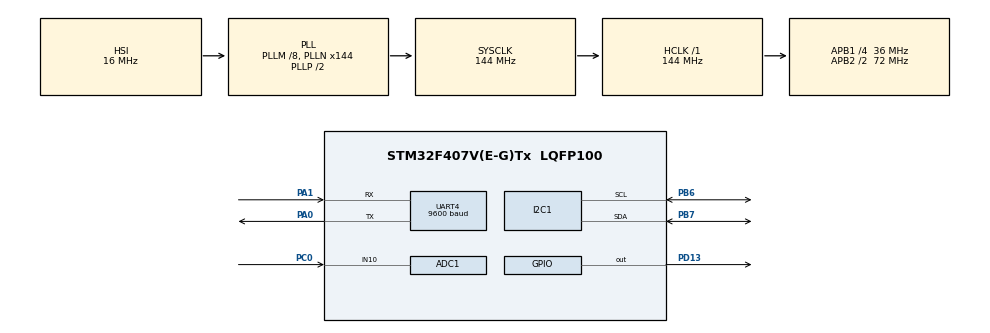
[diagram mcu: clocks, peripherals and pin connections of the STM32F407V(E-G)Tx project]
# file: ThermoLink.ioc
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ADC1.Channel-0\#ChannelRegularConversion=ADC_CHANNEL_10
ADC1.NbrOfConversionFlag=1
ADC1.Rank-0\#ChannelRegularConversion=1
ADC1.SamplingTime-0\#ChannelRegularConversion=ADC_SAMPLETIME_3CYCLES
ADC1.master=1
Mcu.Family=STM32F4
Mcu.Name=STM32F407V(E-G)Tx
Mcu.Package=LQFP100
NVIC.PriorityGroup=NVIC_PRIORITYGROUP_4
NVIC.UART4_IRQn=true\:0\:0\:false\:false\:true\:true\:true\:true
PA0-WKUP.Mode=Asynchronous
PA0-WKUP.Signal=UART4_TX
PA1.Mode=Asynchronous
PA1.Signal=UART4_RX
PA13.Mode=Serial_Wire
PA13.Signal=SYS_JTMS-SWDIO
PA14.Mode=Serial_Wire
PA14.Signal=SYS_JTCK-SWCLK
PB6.Mode=I2C
PB6.Signal=I2C1_SCL
PB7.Mode=I2C
PB7.Signal=I2C1_SDA
PC0.Signal=ADCx_IN10
PD13.Signal=GPIO_Output
ProjectManager.HeapSize=0x200
ProjectManager.StackSize=0x400
ProjectManager.TargetToolchain=STM32CubeIDE
RCC.48MHZClocksFreq_Value=72000000
RCC.AHBFreq_Value=144000000
RCC.APB1CLKDivider=RCC_HCLK_DIV4
RCC.APB1Freq_Value=36000000
RCC.APB1TimFreq_Value=72000000
RCC.APB2CLKDivider=RCC_HCLK_DIV2
RCC.APB2Freq_Value=72000000
RCC.APB2TimFreq_Value=144000000
RCC.CortexFreq_Value=144000000
RCC.HCLKFreq_Value=144000000
RCC.HSE_VALUE=25000000
RCC.HSI_VALUE=16000000
RCC.LSE_VALUE=32768
RCC.PLLM=8
RCC.PLLN=144
RCC.SYSCLKFreq_VALUE=144000000
RCC.SYSCLKSource=RCC_SYSCLKSOURCE_PLLCLK
RCC.VCOOutputFreq_Value=288000000
SH.ADCx_IN10.0=ADC1_IN10,IN10
UART4.BaudRate=9600
UART4.VirtualMode=Asynchronous
board=custom

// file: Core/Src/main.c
/* USER CODE BEGIN Header */
/**
  ******************************************************************************
  * @file           : main.c
  * @brief          : Main program body
  ******************************************************************************
  * @attention
  *
  * Copyright (c) 2025 STMicroelectronics.
  * All rights reserved.
  *
  * This software is licensed under terms that can be found in the LICENSE file
  * in the root directory of this software component.
  * If no LICENSE file comes with this software, it is provided AS-IS.
  *
  ******************************************************************************
  */
/* USER CODE END Header */
#include "main.h"
#include "adc.h"
#include "i2c.h"
#include "usart.h"
#include "gpio.h"

/* USER CODE BEGIN Includes */
#include <string.h>
#include <stdio.h>
/* USER CODE END Includes */

/* USER CODE BEGIN PD */
#define LED_PIN GPIO_PIN_13
#define LED_PORT GPIOD

#define MLX_ADDR 0x5A << 1  // I2C адреса MLX90614
#define TEMP_MEASURE_INTERVAL 1000  // 1 секунда

/* USER CODE END PD */

/* USER CODE BEGIN PV */
/// UART_HandleTypeDef huart4;  - оголошено в usart.h

// Bluetooth reception buffers
char bt_rx_buffer[1];           // Single character receive buffer
char bt_input_buffer[128];      // Complete message buffer
uint16_t bt_input_index = 0;    // Current position in input buffer
uint8_t bt_message_ready = 0;   // Flag indicating complete message received

// Pirometr
uint32_t last_temp_measurement = 0;

// Thermopair
uint16_t adc_value = 0;
/* USER CODE END PV */

void SystemClock_Config(void);
/* USER CODE BEGIN PFP */
void BT_Init(void);                           // Initialize Bluetooth communication
void BT_MessageHandler(char *message);        // Handle specific Bluetooth commands
void BT_SendMessage(char *message);           // Send message via Bluetooth

uint16_t MLX_Read_Register(uint8_t reg);
float MLX_ReadTempAmbient(void);
float MLX_ReadTempObject(void);

uint16_t read_adc(void);
/* USER CODE END PFP */

int main(void)
{

  /* MCU Configuration--------------------------------------------------------*/

  /* Reset of all peripherals, Initializes the Flash interface and the Systick. */
  HAL_Init();

  /* Configure the system clock */
  SystemClock_Config();

  /* Initialize all configured peripherals */
  MX_GPIO_Init();
  MX_UART4_Init();
  MX_I2C1_Init();
  MX_ADC1_Init();
  /* USER CODE BEGIN 2 */
  HAL_ADC_Start(&hadc1);
  BT_Init();
  /* USER CODE END 2 */

  /* Infinite loop */
  /* USER CODE BEGIN WHILE */
  BT_SendMessage("ready");

  while (1)
  {

	    if (bt_message_ready!=0) {
	    	BT_MessageHandler(bt_input_buffer);

	    	HAL_Delay(200);

	    }
    /* USER CODE END WHILE */

  }
}

void SystemClock_Config(void)
{
  RCC_OscInitTypeDef RCC_OscInitStruct = {0};
  RCC_ClkInitTypeDef RCC_ClkInitStruct = {0};

  /** Configure the main internal regulator output voltage
  */
  __HAL_RCC_PWR_CLK_ENABLE();
  __HAL_PWR_VOLTAGESCALING_CONFIG(PWR_REGULATOR_VOLTAGE_SCALE1);

  /** Initializes the RCC Oscillators according to the specified parameters
  * in the RCC_OscInitTypeDef structure.
  */
  RCC_OscInitStruct.OscillatorType = RCC_OSCILLATORTYPE_HSI;
  RCC_OscInitStruct.HSIState = RCC_HSI_ON;
  RCC_OscInitStruct.HSICalibrationValue = RCC_HSICALIBRATION_DEFAULT;
  RCC_OscInitStruct.PLL.PLLState = RCC_PLL_ON;
  RCC_OscInitStruct.PLL.PLLSource = RCC_PLLSOURCE_HSI;
  RCC_OscInitStruct.PLL.PLLM = 8;
  RCC_OscInitStruct.PLL.PLLN = 144;
  RCC_OscInitStruct.PLL.PLLP = RCC_PLLP_DIV2;
  RCC_OscInitStruct.PLL.PLLQ = 4;
  if (HAL_RCC_OscConfig(&RCC_OscInitStruct) != HAL_OK)
  {
    Error_Handler();
  }

  /** Initializes the CPU, AHB and APB buses clocks
  */
  RCC_ClkInitStruct.ClockType = RCC_CLOCKTYPE_HCLK|RCC_CLOCKTYPE_SYSCLK
                              |RCC_CLOCKTYPE_PCLK1|RCC_CLOCKTYPE_PCLK2;
  RCC_ClkInitStruct.SYSCLKSource = RCC_SYSCLKSOURCE_PLLCLK;
  RCC_ClkInitStruct.AHBCLKDivider = RCC_SYSCLK_DIV1;
  RCC_ClkInitStruct.APB1CLKDivider = RCC_HCLK_DIV4;
  RCC_ClkInitStruct.APB2CLKDivider = RCC_HCLK_DIV2;

  if (HAL_RCC_ClockConfig(&RCC_ClkInitStruct, FLASH_LATENCY_4) != HAL_OK)
  {
    Error_Handler();
  }
}

/* USER CODE BEGIN 4 */
void BT_MessageHandler(char *message)
{
  // SWITCH_LED command - toggle the LED state
  if (strcmp(message, "SWITCH_LED") == 0) {
    // Toggle LED pin (like digitalWrite in Arduino)
    HAL_GPIO_TogglePin(LED_PORT, LED_PIN);

    // Send response back via Bluetooth with current LED state
    if (HAL_GPIO_ReadPin(LED_PORT, LED_PIN)) {
      BT_SendMessage("LED ON");
    } else {
      BT_SendMessage("LED OFF");
    }
  }
  else if (strcmp(message, "PIROMETR") == 0) {
	  float ambient = MLX_ReadTempAmbient();
	  float object = MLX_ReadTempObject();

	  // Конвертація у цілі числа (наприклад, помножені на 10 для 1 десяткового знака)
	  int ambient_int = (int)(ambient * 10);
	  int object_int = (int)(object * 10);

	  char temp_msg[64];
	  sprintf(temp_msg, "pirometr%d.%d|%d.%d",
			  ambient_int / 10, abs(ambient_int % 10),
			  object_int / 10, abs(object_int % 10));

  	  BT_SendMessage(temp_msg);
  }
  else if (strcmp(message,"THERMOPAIR") == 0){
	  char temp_msg[64];

	  uint16_t value = read_adc();
	  sprintf(temp_msg, "thermopair%d",value);
  	  BT_SendMessage(temp_msg);
  }
  // Unknown command handler
  else {
    char response[50];
    sprintf(response, "Unknown command: %s", message);
    BT_SendMessage(response);
  }

  bt_message_ready = 0;           // Clear the message ready flag
  bt_input_index = 0;             // Reset buffer position
  memset(bt_input_buffer, 0, sizeof(bt_input_buffer));  // Clear buffer contents

}

// My system code
void BT_Init(void)
{
  // Start receiving data via UART interrupt
  // When data arrives, HAL_UART_RxCpltCallback will be called automatically
  HAL_UART_Receive_IT(&huart4, (uint8_t*)bt_rx_buffer, 1);

  // Clear the input buffer to ensure it's empty
  memset(bt_input_buffer, 0, sizeof(bt_input_buffer));

  // Reset buffer position and message flag
  bt_input_index = 0;
  bt_message_ready = 0;
}
// Переривання по Юарт
void HAL_UART_RxCpltCallback(UART_HandleTypeDef *huart)
{
  // Check if this interrupt came from our Bluetooth UART
  if (huart->Instance == huart4.Instance) {
    char received_char = bt_rx_buffer[0];

    // Check for end-of-line characters (like Arduino Serial.read())
    if (received_char == '\n' || received_char == '\r') {
      // If we have data in buffer, mark message as ready for processing
      if (bt_input_index > 0) {
        bt_message_ready = 1;
      }
    }
    else {
      // Add character to buffer if there's space
      if (bt_input_index < sizeof(bt_input_buffer) - 1) {
        bt_input_buffer[bt_input_index++] = received_char;
      }
      // If buffer is full, you might want to handle overflow here
    }

    // Restart interrupt-based reception for next character
    // This is IMPORTANT - without this, you'll only receive one character!
    HAL_UART_Receive_IT(&huart4, (uint8_t*)bt_rx_buffer, 1);
  }
}

void BT_SendMessage(char *message)
{
  char buffer[128];

  // Format message with line ending (like Serial.println in Arduino)
  sprintf(buffer, "%s\r\n", message);

  // Transmit message via UART5 (Bluetooth)
  // HAL_MAX_DELAY means wait forever if needed
  HAL_UART_Transmit(&huart4, (uint8_t*)buffer, strlen(buffer), HAL_MAX_DELAY);
}

/*
Пірометр код нижче
*/

float MLX_ReadTempAmbient(void)
{
    uint16_t raw = MLX_Read_Register(0x06); // 0x06 - ambient temperature
    if (raw == 0) return 0;
    return (raw * 0.02f) - 273.15f;
}

float MLX_ReadTempObject(void)
{
    uint16_t raw = MLX_Read_Register(0x07); // 0x07 - object temperature (виправити з 0x06 на 0x07!)
    if (raw == 0) return 0;
    return (raw * 0.02f) - 273.15f;
}

uint16_t MLX_Read_Register(uint8_t reg)
{
    uint8_t data[3];
    HAL_StatusTypeDef status;

    // Використовуємо HAL_I2C_Mem_Read для автоматичного repeated start
    status = HAL_I2C_Mem_Read(&hi2c1, MLX_ADDR, reg, I2C_MEMADD_SIZE_8BIT, data, 3, 100);

    if (status != HAL_OK) {
        // Спроба ще раз з більшим таймаутом
        status = HAL_I2C_Mem_Read(&hi2c1, MLX_ADDR, reg, I2C_MEMADD_SIZE_8BIT, data, 3, 500);
        if (status != HAL_OK) {
            return 0;
        }
    }

    // data[0] - LSB, data[1] - MSB, data[2] - PEC
    uint16_t result = (data[1] << 8) | data[0];

    return result;
}

/*
 	 	 Thermopair
 */

uint16_t read_adc(){

    HAL_ADC_Start(&hadc1);
    if (HAL_ADC_PollForConversion(&hadc1, 100) == HAL_OK) {
    	adc_value = HAL_ADC_GetValue(&hadc1);
    }
    HAL_ADC_Stop(&hadc1);

    return adc_value;
}
/* USER CODE END 4 */

void Error_Handler(void)
{
  __disable_irq();
  while (1)
  {
  }
}
